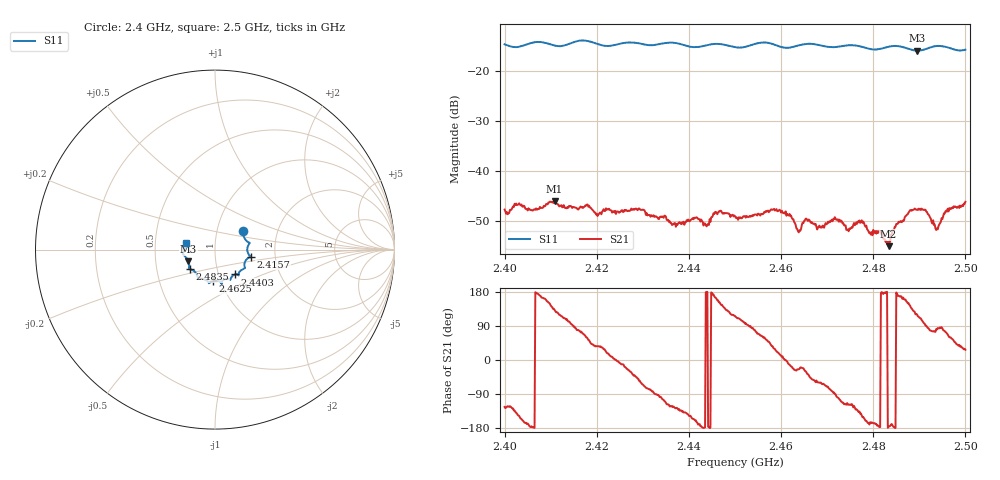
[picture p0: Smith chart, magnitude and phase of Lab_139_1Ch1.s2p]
# Hz S RI R 50
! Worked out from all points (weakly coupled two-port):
!   601 points, 2.4 GHz to 2.5 GHz, reference 50 ohm
!   highest |S21| = -46.11 dB at 2.4108 GHz (marker M1); lowest = -55.2 dB at 2.4833 GHz (marker M2)
!   lowest |S11| = -15.8 dB at 2.4895 GHz (marker M3), VSWR 1.39, Z = 36.8 - j4.98 ohm
!   |S11| at or under -10 dB: start of sweep to end of sweep
!   S12 and S22 are empty: the file has one direction only
!   S11 on the Smith chart (normalised r, x): 2.4 GHz: 1.33, +0.29; 2.4157 GHz: 1.49, -0.12; 2.4403 GHz: 1.20, -0.34; 2.4625 GHz: 0.92, -0.33; 2.4835 GHz: 0.74, -0.17; 2.5 GHz: 0.72, +0.06
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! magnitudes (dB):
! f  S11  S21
! 2.4 GHz  -14.5  -47.8
! 2.4108 GHz  -14.8  -46.1
! 2.4157 GHz  -13.9  -47.5
! 2.4167 GHz  -13.8  -47.3
! 2.4333 GHz  -14.5  -49.6
! 2.4403 GHz  -15.0  -49.9
! 2.45 GHz  -15.1  -49.1
! 2.4585 GHz  -14.6  -47.6
! 2.4625 GHz  -15.1  -49.7
! 2.4638 GHz  -14.7  -52.4
! 2.4667 GHz  -14.4  -50.3
! 2.4683 GHz  -14.7  -51.0
! 2.4718 GHz  -15.1  -49.6
! 2.4747 GHz  -14.7  -52.1
! 2.4775 GHz  -15.0  -49.9
! 2.4833 GHz  -15.0  -55.2
! 2.4835 GHz  -15.0  -54.2
! 2.4852 GHz  -14.9  -50.7
! 2.4895 GHz  -15.8  -47.8
! 2.4938 GHz  -14.9  -51.6
! 2.496 GHz  -15.1  -48.2
! 2.5 GHz  -15.6  -46.2
